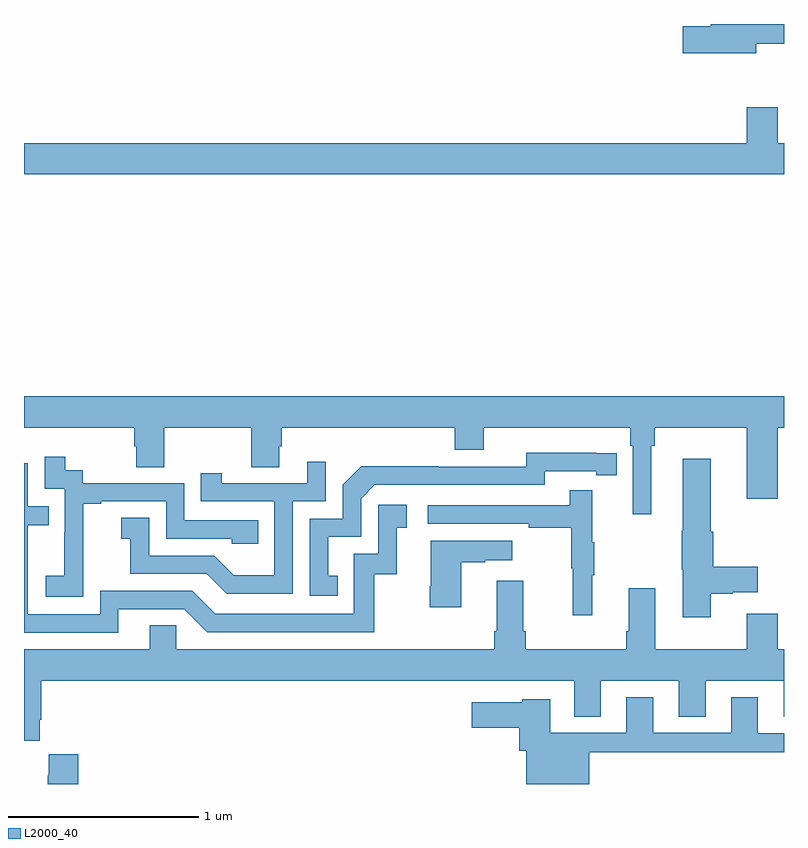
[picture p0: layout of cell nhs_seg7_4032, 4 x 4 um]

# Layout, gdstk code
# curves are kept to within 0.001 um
import gdstk
lib = gdstk.Library(unit=1e-6, precision=1e-09)
def P(c, l, *ps):  # polygons
    for p in ps: c.add(gdstk.Polygon(p, *l))
L2000_40 = (2000, 40)

nhs_seg7_4032 = lib.new_cell('nhs_seg7_4032')
P(nhs_seg7_4032, L2000_40, [(368.854,1075.896),(369,1075.896),(369,1076),(368.615,1076),(368.615,1075.988),(368.466,1075.988),(368.466,1075.846),(368.854,1075.846)],
  [(369,1075.372),(368.968,1075.372),(368.968,1075.561),(368.804,1075.561),(368.804,1075.372),(365,1075.372),(365,1075.208),(369,1075.208)],
  [(365,1073.876),(365.579,1073.876),(365.579,1073.778),(365.591,1073.778),(365.591,1073.668),(365.739,1073.668),(365.739,1073.876),(366.196,1073.876),(366.196,1073.668),(366.343,1073.668),(366.343,1073.778),(366.356,1073.778),(366.356,1073.876),(367.268,1073.876),(367.268,1073.759),(367.42,1073.759),(367.42,1073.876),(368.192,1073.876),(368.192,1073.78),(368.205,1073.78),(368.205,1073.421),(368.302,1073.421),(368.302,1073.78),(368.321,1073.78),(368.321,1073.876),(368.804,1073.876),(368.804,1073.502),(368.968,1073.502),(368.968,1073.876),(369,1073.876),(369,1074.04),(365,1074.04)],
  [(366.65,1073.097),(366.601,1073.097),(366.601,1073.301),(366.774,1073.301),(366.774,1073.502),(366.846,1073.574),(367.74,1073.574),(367.74,1073.646),(368.012,1073.646),(368.012,1073.626),(368.12,1073.626),(368.12,1073.742),(367.644,1073.743),(367.644,1073.67),(367.184,1073.67),(367.184,1073.672),(366.776,1073.672),(366.678,1073.574),(366.678,1073.397),(366.504,1073.397),(366.504,1072.992),(366.65,1072.992)],
  [(365.313,1073.191),(365.312,1073.191),(365.312,1073.475),(365.407,1073.475),(365.407,1073.487),(365.748,1073.487),(365.748,1073.292),(366.093,1073.292),(366.093,1073.265),(366.233,1073.265),(366.233,1073.388),(365.844,1073.388),(365.844,1073.583),(365.31,1073.583),(365.31,1073.652),(365.218,1073.652),(365.218,1073.722),(365.109,1073.722),(365.109,1073.553),(365.214,1073.553),(365.214,1073.324),(365.213,1073.324),(365.213,1073.095),(365.115,1073.095),(365.115,1072.985),(365.313,1072.985)],
  [(368.614,1073.002),(368.73,1073.002),(368.73,1073.009),(368.863,1073.009),(368.863,1073.144),(368.627,1073.144),(368.627,1073.327),(368.614,1073.327),(368.614,1073.713),(368.468,1073.713),(368.468,1073.333),(368.461,1073.333),(368.461,1073.127),(368.468,1073.127),(368.468,1072.878),(368.614,1072.878)],
  [(366.414,1073.487),(366.588,1073.487),(366.588,1073.695),(366.491,1073.695),(366.491,1073.583),(366.04,1073.583),(366.04,1073.635),(365.929,1073.635),(365.929,1073.487),(366.318,1073.487),(366.318,1073.098),(366.104,1073.098),(366,1073.202),(365.658,1073.202),(365.658,1073.401),(365.511,1073.401),(365.511,1073.291),(365.56,1073.291),(365.56,1073.106),(365.963,1073.106),(366.068,1073.001),(366.414,1073.001)],
  [(365.497,1072.92),(365.844,1072.92),(365.964,1072.8),(366.844,1072.8),(366.844,1073.103),(366.962,1073.103),(366.962,1073.349),(367.015,1073.349),(367.015,1073.47),(366.864,1073.47),(366.864,1073.211),(366.735,1073.211),(366.735,1072.896),(366.006,1072.896),(365.886,1073.016),(365.4,1073.016),(365.4,1072.893),(365.019,1072.893),(365.019,1073.362),(365.129,1073.362),(365.129,1073.463),(365.019,1073.463),(365.019,1073.688),(365,1073.688),(365,1072.797),(365.497,1072.797)],
  [(367.991,1073.099),(368.002,1073.099),(368.002,1073.273),(367.991,1073.273),(367.991,1073.545),(367.873,1073.545),(367.873,1073.466),(367.125,1073.466),(367.125,1073.37),(367.657,1073.37),(367.657,1073.35),(367.881,1073.35),(367.881,1073.136),(367.888,1073.136),(367.888,1072.887),(367.991,1072.887)],
  [(367.3,1073.167),(367.427,1073.167),(367.427,1073.177),(367.57,1073.177),(367.57,1073.281),(367.142,1073.281),(367.142,1073.041),(367.135,1073.041),(367.135,1072.929),(367.3,1072.929)],
  [(365,1072.227),(365.083,1072.227),(365.083,1072.339),(365.09,1072.339),(365.09,1072.544),(367.895,1072.544),(367.895,1072.354),(368.035,1072.354),(368.035,1072.544),(368.447,1072.544),(368.447,1072.354),(368.587,1072.354),(368.587,1072.544),(368.999,1072.544),(368.999,1072.354),(369,1072.354),(369,1072.708),(368.968,1072.708),(368.968,1072.897),(368.804,1072.897),(368.804,1072.708),(368.323,1072.708),(368.323,1073.029),(368.183,1073.029),(368.183,1072.804),(368.171,1072.804),(368.171,1072.708),(367.64,1072.708),(367.64,1072.804),(367.627,1072.804),(367.627,1073.071),(367.487,1073.071),(367.487,1072.804),(367.475,1072.804),(367.475,1072.708),(365.802,1072.708),(365.802,1072.835),(365.663,1072.835),(365.663,1072.708),(365,1072.708)],
  [(367.975,1072.168),(368.959,1072.168),(368.959,1072.166),(369,1072.166),(369,1072.266),(368.863,1072.266),(368.863,1072.456),(368.723,1072.456),(368.723,1072.269),(368.311,1072.269),(368.311,1072.456),(368.171,1072.456),(368.171,1072.269),(367.771,1072.269),(367.771,1072.447),(367.623,1072.447),(367.623,1072.429),(367.356,1072.429),(367.356,1072.295),(367.607,1072.295),(367.607,1072.176),(367.643,1072.176),(367.643,1072),(367.975,1072)],
  [(365.285,1072.156),(365.129,1072.156),(365.129,1072.043),(365.125,1072.043),(365.125,1072),(365.285,1072)])

lib.write_gds('nhs_seg7_4032.gds')
